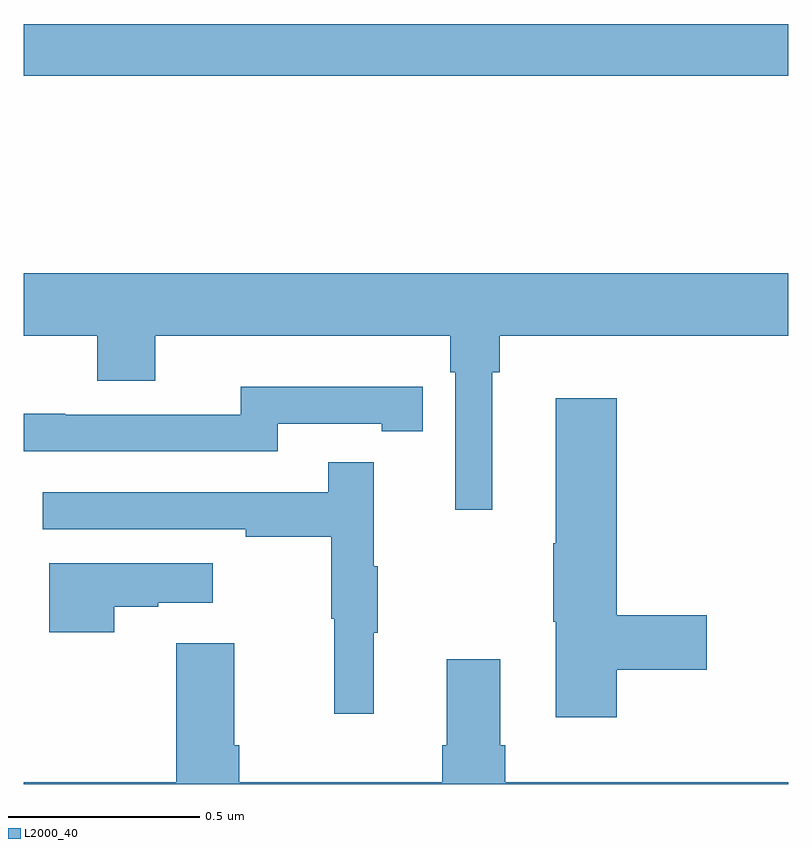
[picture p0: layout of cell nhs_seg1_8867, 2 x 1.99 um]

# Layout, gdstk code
import gdstk
lib = gdstk.Library(unit=1e-6, precision=1e-09)
def R(c, l, rs):  # rectangles x0, y0, x1, y1
    for r in rs: c.add(gdstk.rectangle(r[:2], r[2:], *l))
def P(c, l, *ps):  # polygons
    for p in ps: c.add(gdstk.Polygon(p, *l))
L2000_40 = (2000, 40)

nhs_seg1_8867 = lib.new_cell('nhs_seg1_8867')
R(nhs_seg1_8867, L2000_40, [(221,579.052,223,579.188)])
P(nhs_seg1_8867, L2000_40, [(222.226,578.276),(222.245,578.276),(222.245,578.372),(223,578.372),(223,578.536),(221,578.536),(221,578.372),(221.192,578.372),(221.192,578.255),(221.344,578.255),(221.344,578.372),(222.116,578.372),(222.116,578.276),(222.129,578.276),(222.129,577.917),(222.226,577.917)],
  [(221.664,578.142),(221.936,578.142),(221.936,578.122),(222.044,578.122),(222.044,578.238),(221.936,578.238),(221.936,578.239),(221.568,578.239),(221.568,578.166),(221.108,578.166),(221.108,578.168),(221,578.168),(221,578.07),(221.664,578.07)],
  [(222.551,577.498),(222.787,577.498),(222.787,577.64),(222.551,577.64),(222.551,578.209),(222.392,578.209),(222.392,577.829),(222.385,577.829),(222.385,577.623),(222.392,577.623),(222.392,577.374),(222.551,577.374)],
  [(221.915,577.595),(221.926,577.595),(221.926,577.769),(221.915,577.769),(221.915,578.041),(221.797,578.041),(221.797,577.962),(221.049,577.962),(221.049,577.866),(221.581,577.866),(221.581,577.846),(221.805,577.846),(221.805,577.632),(221.812,577.632),(221.812,577.383),(221.915,577.383)],
  [(221.237,577.663),(221.351,577.663),(221.351,577.673),(221.494,577.673),(221.494,577.777),(221.066,577.777),(221.066,577.596),(221.237,577.596)],
  [(223,577.204),(222.26,577.204),(222.26,577.3),(222.247,577.3),(222.247,577.525),(222.107,577.525),(222.107,577.3),(222.095,577.3),(222.095,577.204),(221.564,577.204),(221.564,577.3),(221.551,577.3),(221.551,577.567),(221.399,577.567),(221.399,577.204),(221,577.204),(221,577.199),(223,577.199)])

lib.write_gds('nhs_seg1_8867.gds')
